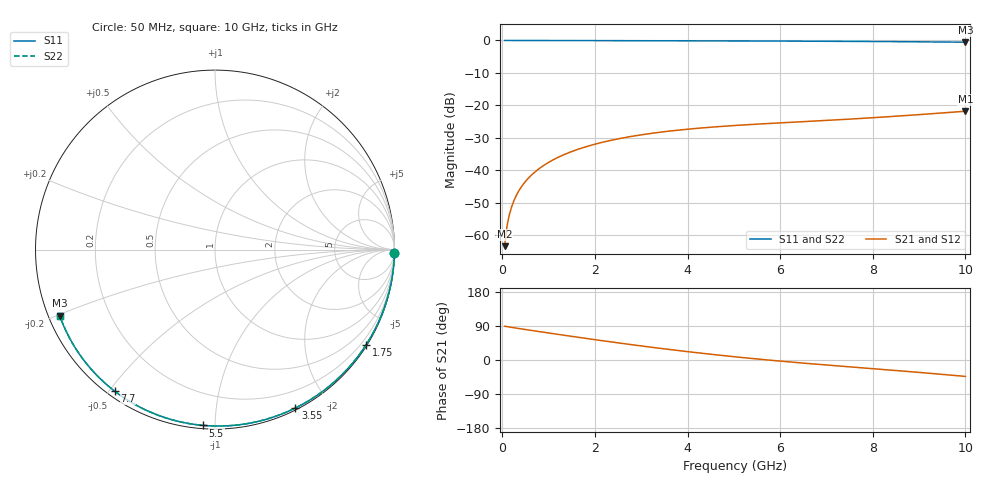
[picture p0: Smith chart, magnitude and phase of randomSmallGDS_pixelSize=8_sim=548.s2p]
! freq	dB(S11)	phase(S11)	dB(S12)	phase(S12)
!  dB(S21)	phase(S21)	dB(S22)	phase(S22)
!S-par simulation data
#  GHz  S  DB  R 50
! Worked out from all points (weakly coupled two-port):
!   200 points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, 50 MHz to 10 GHz, reference 50 ohm
!   highest |S21| = -21.78 dB at 10 GHz (marker M1); lowest = -63.3 dB at 50 MHz (marker M2)
!   lowest |S11| = -0.5 dB at 10 GHz (marker M3), VSWR 32.60, Z = 1.6 - j10.2 ohm
!   |S11| at or under -10 dB: nowhere
!   |S22| runs from -0.5 to 0.0 dB; largest |S21 - S12| = 0
!   S11 on the Smith chart (normalised r, x): 50 MHz: open; 1.75 GHz: 0.03, -3.48; 3.55 GHz: 0.02, -1.63; 5.5 GHz: 0.02, -0.94; 7.7 GHz: 0.02, -0.52; 10 GHz: 0.03, -0.20
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0.05  -0.00 -0.9  -63.30 89.0  -63.30 89.0  -0.00 -0.9
0.1  -0.00 -1.9  -57.28 88.0  -57.28 88.0  -0.00 -1.9
0.15  -0.00 -2.8  -53.77 87.0  -53.77 87.0  -0.00 -2.8
0.2  -0.00 -3.7  -51.27 86.1  -51.27 86.1  -0.00 -3.7
0.25  -0.00 -4.7  -49.35 85.1  -49.35 85.1  -0.00 -4.7
0.35  -0.00 -6.5  -46.45 83.2  -46.45 83.2  -0.00 -6.5
0.5  -0.01 -9.3  -43.39 80.4  -43.39 80.4  -0.01 -9.3
0.7  -0.01 -13.0  -40.52 76.7  -40.52 76.7  -0.01 -13.0
1  -0.02 -18.5  -37.51 71.3  -37.51 71.3  -0.02 -18.5
1.35  -0.03 -24.9  -35.03 65.0  -35.03 65.0  -0.03 -24.9
1.75  -0.04 -32.1  -32.95 58.0  -32.95 58.0  -0.04 -32.1
2.5  -0.06 -45.3  -30.28 45.2  -30.28 45.2  -0.06 -45.3
3.4  -0.09 -60.7  -28.24 30.9  -28.24 30.9  -0.09 -60.6
3.55  -0.09 -63.1  -27.99 28.6  -27.99 28.6  -0.09 -63.1
4.3  -0.11 -75.3  -26.92 17.9  -26.92 17.9  -0.11 -75.2
5.05  -0.14 -87.0  -26.14 8.1  -26.14 8.1  -0.14 -86.9
5.5  -0.16 -93.8  -25.75 2.7  -25.75 2.7  -0.16 -93.8
6.7  -0.22 -111.3  -24.83 -10.2  -24.83 -10.2  -0.22 -111.2
7.7  -0.29 -125.3  -24.04 -20.0  -24.04 -20.0  -0.29 -125.2
8.35  -0.35 -134.3  -23.45 -26.2  -23.45 -26.2  -0.35 -134.2
9.2  -0.44 -145.9  -22.62 -34.8  -22.62 -34.8  -0.44 -145.8
10  -0.53 -156.9  -21.78 -43.3  -21.78 -43.3  -0.53 -156.8
